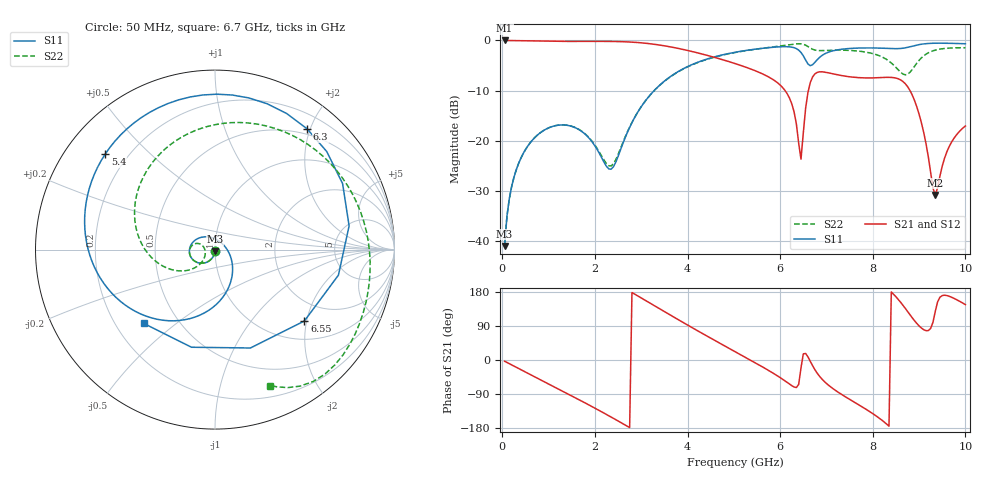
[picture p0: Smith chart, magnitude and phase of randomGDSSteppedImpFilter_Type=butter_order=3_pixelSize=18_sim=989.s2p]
! freq	dB(S11)	phase(S11)	dB(S12)	phase(S12)
!  dB(S21)	phase(S21)	dB(S22)	phase(S22)
!S-par simulation data
#  GHz  S  DB  R 50
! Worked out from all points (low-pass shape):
!   200 points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, 50 MHz to 10 GHz, reference 50 ohm
!   highest |S21| = -0.01 dB at 50 MHz (marker M1); lowest = -30.9 dB at 9.35 GHz (marker M2)
!   |S21| within 3 dB of the highest: start of sweep to 4.435 GHz
!   lowest |S11| = -41.0 dB at 50 MHz (marker M3), VSWR 1.02, Z = 50 - j0.886 ohm
!   |S11| at or under -10 dB: start of sweep to 3.281 GHz
!   |S22| runs from -41.1 to -0.7 dB; largest |S21 - S12| = 0
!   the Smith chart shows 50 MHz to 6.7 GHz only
!   S11 on the Smith chart (normalised r, x): 50 MHz: 1.00, -0.02; 5.4 GHz: 0.12, +0.37; 6.3 GHz: 0.41, +1.95; 6.55 GHz: 1.45, -1.94; 6.7 GHz: 0.32, -0.39
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0.05  -41.05 -91.4  -0.01 -3.2  -0.01 -3.2  -41.09 -91.1
0.2  -29.27 -102.2  -0.03 -12.8  -0.03 -12.8  -29.27 -102.5
0.55  -21.09 -125.0  -0.08 -34.9  -0.08 -34.9  -21.10 -125.6
1.75  -18.42 152.4  -0.20 -110.8  -0.20 -110.8  -18.36 165.4
2.35  -25.71 43.9  -0.20 -150.5  -0.20 -150.5  -25.07 -167.4
3.4  -8.92 -99.6  -0.93 135.0  -0.93 135.0  -8.96 -172.9
4.15  -4.62 -148.2  -2.33 81.8  -2.33 81.8  -4.67 130.0
5.05  -2.33 159.7  -4.69 20.5  -4.69 20.5  -2.37 59.8
5.4  -1.82 139.0  -5.83 -3.1  -5.83 -3.1  -1.85 33.0
6.3  -1.45 52.7  -14.24 -71.2  -14.24 -71.2  -0.75 -34.9
6.45  -2.40 10.0  -23.72 -20.8  -23.72 -20.8  -0.67 -48.4
6.55  -3.91 -38.6  -13.55 17.3  -13.55 17.3  -0.94 -58.0
6.7  -4.86 -134.0  -7.30 -14.9  -7.30 -14.9  -1.76 -68.2
6.85  -3.40 166.4  -6.27 -42.9  -6.27 -42.9  -2.04 -75.1
7.2  -1.95 111.5  -6.79 -80.7  -6.79 -80.7  -1.94 -96.3
7.95  -1.50 61.7  -7.49 -137.5  -7.49 -137.5  -2.52 -157.5
8.35  -1.61 43.8  -7.37 -174.6  -7.37 -174.6  -4.13 147.7
8.6  -1.61 35.4  -7.88 152.6  -7.88 152.6  -6.34 82.3
8.85  -1.16 27.3  -10.86 111.8  -10.86 111.8  -5.83 -19.6
9.1  -0.69 16.3  -18.39 80.0  -18.39 80.0  -3.08 -93.6
9.35  -0.56 5.0  -30.86 128.5  -30.86 128.5  -1.94 -139.4
10  -0.66 -20.0  -17.09 146.2  -17.09 146.2  -1.46 140.1
